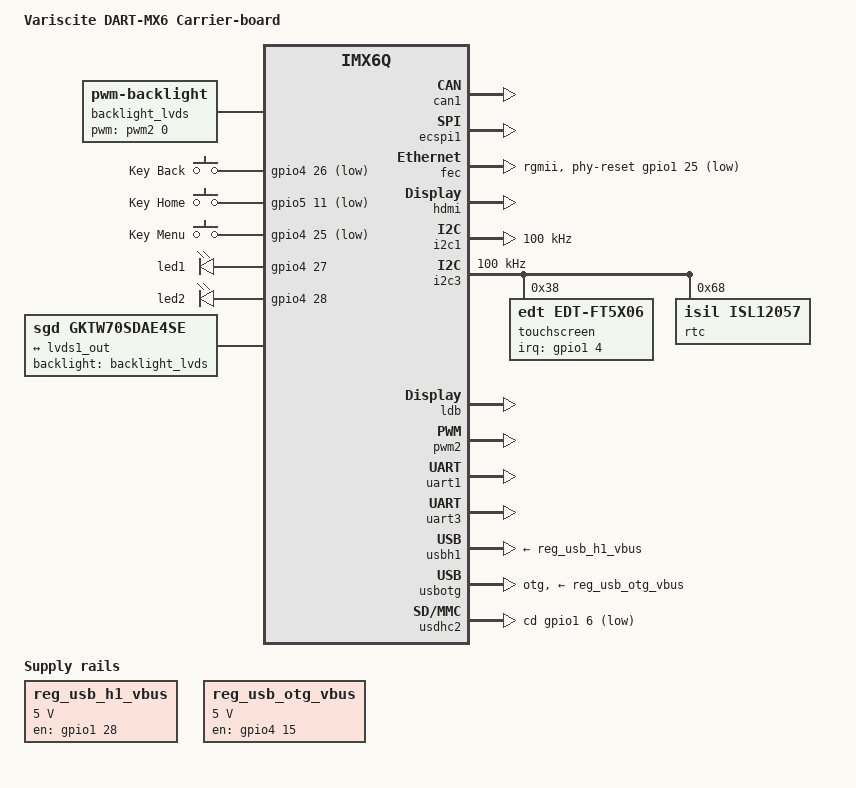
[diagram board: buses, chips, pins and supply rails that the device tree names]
// SPDX-License-Identifier: (GPL-2.0+ OR MIT)
/*
 * Support for Variscite DART-MX6 Carrier-board
 *
 * Copyright 2017 BayLibre, SAS
 * Author: Neil Armstrong <narmstrong@baylibre.com>
 */

/dts-v1/;

#include "imx6q.dtsi"
#include "imx6qdl-var-dart.dtsi"
#include <dt-bindings/input/linux-event-codes.h>

/ {
	model = "Variscite DART-MX6 Carrier-board";
	compatible = "variscite,dt6customboard", "fsl,imx6q";

	backlight_lvds: backlight {
		compatible = "pwm-backlight";
		pwms = <&pwm2 0 50000>;
		brightness-levels = <0 4 8 16 32 64 128 248>;
		default-brightness-level = <7>;
		status = "okay";
	};

	gpio-keys {
		compatible = "gpio-keys";
		autorepeat;

		back {
			gpios = <&gpio4 26 GPIO_ACTIVE_LOW>;
			linux,code = <KEY_BACK>;
			label = "Key Back";
			linux,input-type = <1>;
			debounce-interval = <100>;
			wakeup-source;
		};

		home {
			gpios = <&gpio5 11 GPIO_ACTIVE_LOW>;
			linux,code = <KEY_HOME>;
			label = "Key Home";
			linux,input-type = <1>;
			debounce-interval = <100>;
			wakeup-source;
		};

		menu {
			gpios = <&gpio4 25 GPIO_ACTIVE_LOW>;
			linux,code = <KEY_MENU>;
			label = "Key Menu";
			linux,input-type = <1>;
			debounce-interval = <100>;
			wakeup-source;
		};
	};

	gpio-leds {
		compatible = "gpio-leds";

		led1 {
			gpios = <&gpio4 27 GPIO_ACTIVE_HIGH>;
			linux,default-trigger = "heartbeat";
		};

		led2 {
			gpios = <&gpio4 28 GPIO_ACTIVE_HIGH>;
			linux,default-trigger = "default-on";
		};
	};

	panel1: lvds-panel {
		compatible = "sgd,gktw70sdae4se", "panel-lvds";
		backlight = <&backlight_lvds>;
		width-mm = <153>;
		height-mm = <86>;
		label = "gktw70sdae4se";
		data-mapping = "jeida-18";

		panel-timing {
			clock-frequency = <32000000>;
			hactive = <800>;
			vactive = <480>;
			hback-porch = <39>;
			hfront-porch = <39>;
			vback-porch = <29>;
			vfront-porch = <13>;
			hsync-len = <47>;
			vsync-len = <2>;
		};

		port {
			panel_in: endpoint {
				remote-endpoint = <&lvds1_out>;
			};
		};
	};

	reg_usb_h1_vbus: regulator-usbh1vbus {
		compatible = "regulator-fixed";
		regulator-name = "usb_h1_vbus";
		regulator-min-microvolt = <5000000>;
		regulator-max-microvolt = <5000000>;
		gpio = <&gpio1 28 GPIO_ACTIVE_HIGH>;
		enable-active-high;
	};

	reg_usb_otg_vbus: regulator-usbotgvbus {
		compatible = "regulator-fixed";
		regulator-name = "usb_otg_vbus";
		regulator-min-microvolt = <5000000>;
		regulator-max-microvolt = <5000000>;
		gpio = <&gpio4 15 GPIO_ACTIVE_HIGH>;
		enable-active-high;
	};

	sound {
		compatible = "simple-audio-card";
		simple-audio-card,name = "dt6-customboard-audio";
		simple-audio-card,format = "i2s";
		simple-audio-card,bitclock-master = <&sound_codec>;
		simple-audio-card,frame-master = <&sound_codec>;
		simple-audio-card,widgets = "Headphone", "Headphone Jack",
					    "Line", "Line In";
		simple-audio-card,routing = "Headphone Jack", "HPLOUT",
					    "Headphone Jack", "HPROUT",
					    "LINE1L", "Line In",
					    "LINE1R", "Line In";

		sound_cpu: simple-audio-card,cpu {
			sound-dai = <&ssi2>;
		};

		sound_codec: simple-audio-card,codec {
			sound-dai = <&tlv320aic3106>;
			clocks = <&clks IMX6QDL_CLK_CKO>;
		};
	};
};

&can1 {
	status = "okay";
};

&ecspi1 {
	cs-gpios = <&gpio4 9 GPIO_ACTIVE_HIGH>,
		   <&gpio4 10 GPIO_ACTIVE_HIGH>;
	status = "okay";
};

&fec {
	status = "okay";
	phy-mode = "rgmii";
	phy-reset-gpios = <&gpio1 25 GPIO_ACTIVE_LOW>;
};

&hdmi {
	status = "okay";
};

&i2c1 {
	clock-frequency = <100000>;
	status = "okay";
};

&i2c3 {
	clock-frequency = <100000>;
	status = "okay";

	touchscreen@38 {
		compatible = "edt,edt-ft5x06";
		reg = <0x38>;
		interrupt-parent = <&gpio1>;
		interrupts = <4 IRQ_TYPE_EDGE_FALLING>;
		touchscreen-size-x = <800>;
		touchscreen-size-y = <480>;
		touchscreen-inverted-x;
		touchscreen-inverted-y;
		wakeup-source;
	};

	rtc@68 {
		compatible = "isil,isl12057";
		reg = <0x68>;
	};
};

&ldb {
	status = "okay";

	lvds-channel@1 {
		status = "okay";

		port@4 {
			reg = <4>;

			lvds1_out: endpoint {
				remote-endpoint = <&panel_in>;
			};
		};
	};
};

&pwm2 {
	#pwm-cells = <2>;
	status = "okay";
};

&uart1 {
	status = "okay";
};

&uart3 {
	status = "okay";
};

&usbh1 {
	vbus-supply = <&reg_usb_h1_vbus>;
	status = "okay";
};

&usbotg {
	vbus-supply = <&reg_usb_otg_vbus>;
	dr_mode = "otg";
	srp-disable;
	hnp-disable;
	adp-disable;
	status = "okay";
};

&usdhc2 {
	cd-gpios = <&gpio1 6 GPIO_ACTIVE_LOW>;
	status = "okay";
};
